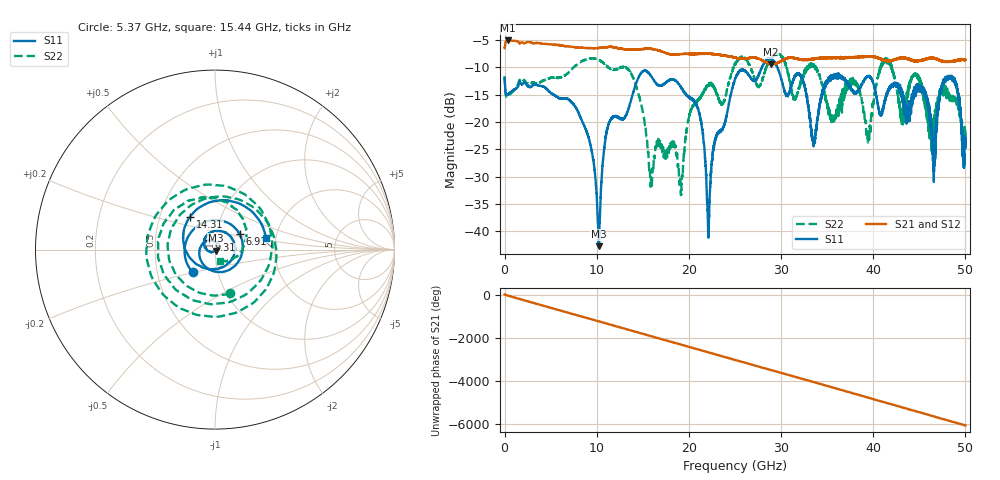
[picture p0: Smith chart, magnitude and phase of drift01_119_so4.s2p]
!Created with skrf (http://scikit-rf.org).
# Hz S RI R 50.0
!freq ReS11 ImS11 ReS21 ImS21 ReS12 ImS12 ReS22 ImS22
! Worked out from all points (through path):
!   10001 points, 300 kHz to 50 GHz, reference 50 ohm
!   highest |S21| = -5.05 dB at 325.3 MHz (marker M1); lowest = -9.4 dB at 28.89 GHz (marker M2)
!   group delay of S21, straight-line fit = 336 ps
!   lowest |S11| = -42.7 dB at 10.22 GHz (marker M3), VSWR 1.01, Z = 50.5 - j0.527 ohm
!   |S11| at or under -10 dB: start of sweep to 27.91 GHz; 29.61 GHz to end of sweep
!   |S22| runs from -33.4 to -7.5 dB; largest |S21 - S12| = 0.016
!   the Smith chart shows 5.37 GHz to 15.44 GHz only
!   S11 on the Smith chart (normalised r, x): 5.37 GHz: 0.76, -0.20; 6.91 GHz: 1.30, +0.23; 9.31 GHz: 0.93, +0.10; 14.31 GHz: 0.71, +0.28; 15.44 GHz: 1.77, +0.25
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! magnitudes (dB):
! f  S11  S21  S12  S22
! 300 kHz  -11.9  -6.5  -6.5  -11.6
! 325.3 MHz  -15.0  -5.0  -5.1  -15.3
! 5.37 GHz  -15.0  -5.9  -5.9  -11.8
! 6.91 GHz  -15.8  -6.1  -6.1  -11.0
! 8.335 GHz  -19.5  -6.4  -6.4  -8.9
! 9.31 GHz  -24.1  -6.4  -6.4  -8.4
! 10.22 GHz  -42.7  -6.4  -6.4  -8.6
! 11.23 GHz  -20.7  -6.2  -6.2  -9.9
! 14.31 GHz  -12.7  -6.7  -6.7  -13.6
! 15.44 GHz  -10.7  -6.6  -6.6  -22.9
! 16.67 GHz  -13.2  -6.9  -6.9  -23.4
! 19.14 GHz  -13.6  -7.5  -7.6  -33.4
! 20.85 GHz  -16.9  -7.6  -7.5  -16.1
! 22.13 GHz  -40.6  -7.5  -7.5  -13.3
! 25 GHz  -12.1  -8.2  -8.2  -9.5
! 28.89 GHz  -8.4  -9.4  -9.4  -8.4
! 33.34 GHz  -22.4  -8.5  -8.4  -9.6
! 39.47 GHz  -11.7  -7.9  -7.9  -21.8
! 41.67 GHz  -13.9  -8.8  -8.7  -9.0
! 46.56 GHz  -26.8  -8.3  -8.3  -20.2
! 48.56 GHz  -12.2  -8.8  -8.9  -15.7
! 50 GHz  -23.7  -8.6  -8.6  -22.7
